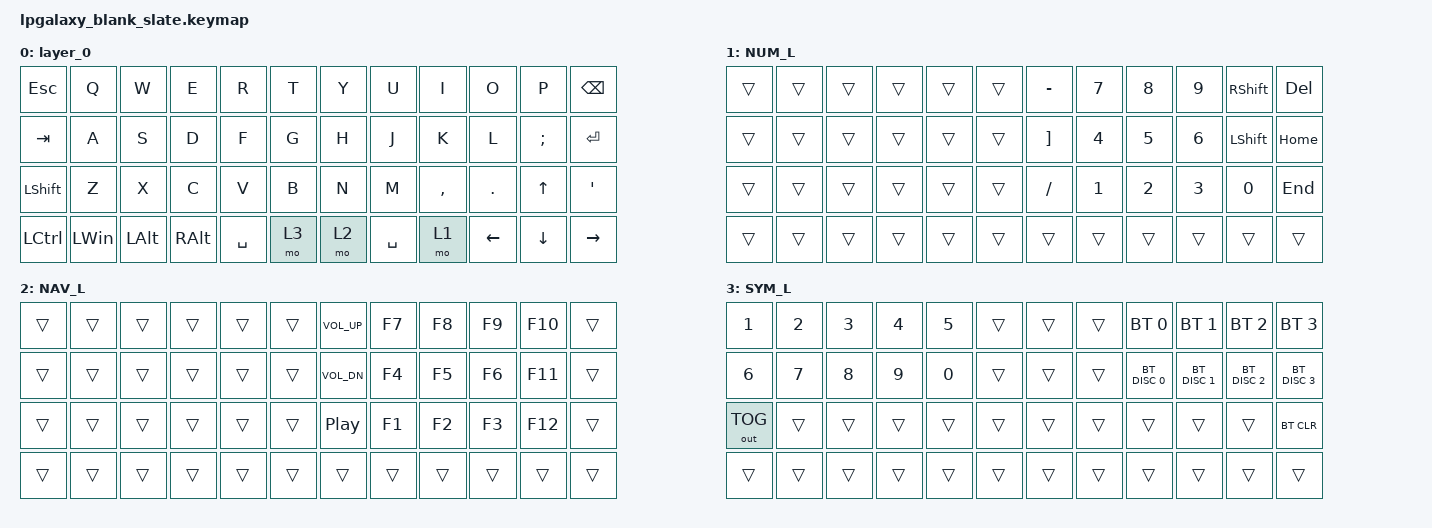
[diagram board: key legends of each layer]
#include <behaviors.dtsi>
#include <dt-bindings/zmk/bt.h>
#include <dt-bindings/zmk/keys.h>
#include <dt-bindings/zmk/outputs.h>

/ {
    combos {
        compatible = "zmk,combos";

        alt_f4 {
            bindings = <&kp LA(F4)>;
            key-positions = <4 39>;
        };
    };

    keymap {
        compatible = "zmk,keymap";

        layer_0 {
            bindings = <
&kp ESC     &kp Q         &kp W         &kp E          &kp R      &kp T  &kp Y  &kp U      &kp I      &kp O           &kp P     &kp BACKSPACE
&kp TAB     &kp A         &kp S         &kp D          &kp F      &kp G  &kp H  &kp J      &kp K      &kp L           &kp SEMI  &kp ENTER
&kp LSHIFT  &kp Z         &kp X         &kp C          &kp V      &kp B  &kp N  &kp M      &kp COMMA  &kp DOT         &kp UP    &kp SQT
&kp LCTRL   &kp LEFT_WIN  &kp LEFT_ALT  &kp RIGHT_ALT  &kp SPACE  &mo 3  &mo 2  &kp SPACE  &mo 1      &kp LEFT_ARROW  &kp DOWN  &kp RIGHT_ARROW
            >;
        };

        NUM_L {
            bindings = <
&trans  &trans  &trans  &trans  &trans  &trans  &kp MINUS          &kp N7  &kp N8  &kp N9  &kp RSHFT       &kp DEL
&trans  &trans  &trans  &trans  &trans  &trans  &kp RIGHT_BRACKET  &kp N4  &kp N5  &kp N6  &kp LEFT_SHIFT  &kp HOME
&trans  &trans  &trans  &trans  &trans  &trans  &kp SLASH          &kp N1  &kp N2  &kp N3  &kp N0          &kp END
&trans  &trans  &trans  &trans  &trans  &trans  &trans             &trans  &trans  &trans  &trans          &trans
            >;
        };

        NAV_L {
            bindings = <
&trans  &trans  &trans  &trans  &trans  &trans  &kp C_VOLUME_UP   &kp F7  &kp F8  &kp F9  &kp F10  &trans
&trans  &trans  &trans  &trans  &trans  &trans  &kp C_VOL_DN      &kp F4  &kp F5  &kp F6  &kp F11  &trans
&trans  &trans  &trans  &trans  &trans  &trans  &kp C_PLAY_PAUSE  &kp F1  &kp F2  &kp F3  &kp F12  &trans
&trans  &trans  &trans  &trans  &trans  &trans  &trans            &trans  &trans  &trans  &trans   &trans
            >;
        };

        SYM_L {
            bindings = <
&kp NUMBER_1  &kp NUMBER_2  &kp NUMBER_3  &kp NUMBER_4  &kp N5  &trans  &trans  &trans  &bt BT_SEL 0   &bt BT_SEL 1   &bt BT_SEL 2   &bt BT_SEL 3
&kp NUMBER_6  &kp N7        &kp N8        &kp N9        &kp N0  &trans  &trans  &trans  &bt BT_DISC 0  &bt BT_DISC 1  &bt BT_DISC 2  &bt BT_DISC 3
&out OUT_TOG  &trans        &trans        &trans        &trans  &trans  &trans  &trans  &trans         &trans         &trans         &bt BT_CLR
&trans        &trans        &trans        &trans        &trans  &trans  &trans  &trans  &trans         &trans         &trans         &trans
            >;
        };
    };
};
